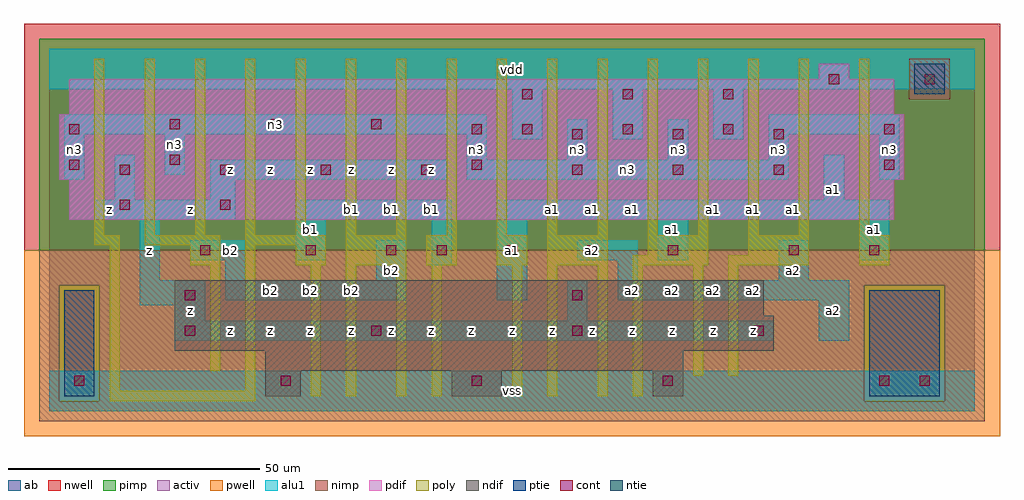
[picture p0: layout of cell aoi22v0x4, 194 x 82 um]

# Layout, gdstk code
import gdstk
lib = gdstk.Library(unit=1e-6, precision=1e-09)
def R(c, l, rs):  # rectangles x0, y0, x1, y1
    for r in rs: c.add(gdstk.rectangle(r[:2], r[2:], *l))
def A(c, l, x, y, w, h, nx, ny, dx, dy):  # array of equal rectangles
    R(c, l, [(x+i*dx, y+j*dy, x+i*dx+w, y+j*dy+h) for i in range(nx) for j in range(ny)])
ndif = (3, 0)
pdif = (4, 0)
ntie = (5, 0)
ptie = (6, 0)
cont = (25, 0)
pwell = (41, 0)
nwell = (42, 0)
activ = (43, 0)
pimp = (44, 0)
nimp = (45, 0)
poly = (46, 0)
alu1 = (49, 0)
ab = (63, 0)

aoi22v0x4 = lib.new_cell('aoi22v0x4')
R(aoi22v0x4, ndif, [(43,3,50,8), (80,3,90,8), (120,3,126,8), (43,8,126,12), (25,12,144,19), (25,19,142,26)])
R(aoi22v0x4, pdif, [(4,38,168,46), (2,46,170,59), (4,59,168,66), (153,66,159,69)])
R(aoi22v0x4, ntie, [(172,63,178,69)])
R(aoi22v0x4, ptie, [(3,3,9,24), (163,3,177,24)])
A(aoi22v0x4, cont, 46, 5, 2, 2, 3, 1, 38, 0)
A(aoi22v0x4, cont, 91, 31, 2, 2, 3, 1, 16, 0)
A(aoi22v0x4, cont, 14, 47, 2, 2, 4, 1, 20, 0)
A(aoi22v0x4, cont, 104, 47, 2, 2, 3, 2, 20, 7)
A(aoi22v0x4, cont, 94, 55, 2, 2, 3, 2, 20, 7)
A(aoi22v0x4, cont, 24, 56, 2, 2, 3, 1, 20, 0)
R(aoi22v0x4, cont, [(5,5,7,7), (165,5,167,7), (173,5,175,7), (27,15,29,17), (64,15,66,17), (104,15,106,17), (140,15,142,17), (27,22,29,24), (104,22,106,24), (30,31,32,33), (51,31,53,33), (67,31,69,33), (77,31,79,33), (147,31,149,33), (163,31,165,33), (14,40,16,42), (34,40,36,42), (4,48,6,50), (84,48,86,50), (166,48,168,50), (24,49,26,51), (4,55,6,57), (84,55,86,57), (166,55,168,57), (155,65,157,67), (174,65,176,67)])
R(aoi22v0x4, pwell, [(-5,-5,189,32)])
R(aoi22v0x4, nwell, [(-5,32,189,77)])
R(aoi22v0x4, activ, [(3,3,9,24), (43,3,50,8), (80,3,90,8), (120,3,126,8), (163,3,177,24), (43,8,126,12), (25,12,144,19), (25,19,142,26), (4,38,168,46), (2,46,170,59), (4,59,168,66), (172,63,178,69), (153,66,159,69)])
R(aoi22v0x4, pimp, [(2,2,10,25), (162,2,178,25), (-2,32,186,62), (-2,62,171,70), (179,62,186,70), (-2,70,186,74)])
R(aoi22v0x4, nimp, [(-2,-2,186,2), (-2,2,2,25), (10,2,162,25), (178,2,186,25), (-2,25,186,32), (171,62,179,70)])
A(aoi22v0x4, poly, 9, 35, 2, 35, 15, 1, 10, 0)
R(aoi22v0x4, poly, [(12,2,41,4), (52,3,54,29), (59,3,61,29), (69,3,71,29), (76,3,78,29), (92,3,94,29), (99,3,101,29), (109,3,111,29), (116,3,118,29), (12,4,14,33), (39,4,41,33), (128,7,130,29), (135,7,137,29), (32,8,34,29), (28,29,34,33), (49,29,55,33), (59,29,71,35), (75,29,81,35), (89,29,95,35), (99,29,111,35), (116,29,131,31), (135,29,151,31), (161,29,167,35), (119,31,131,35), (139,31,151,35), (9,33,14,35), (19,33,34,35), (39,33,55,35), (161,35,163,70)])
A(aoi22v0x4, alu1, 92, 54, 6, 10, 3, 1, 20, 0)
R(aoi22v0x4, alu1, [(0,0,184,8), (25,14,144,18), (153,14,159,22), (25,18,31,21), (103,18,107,26), (18,21,31,26), (35,22,71,26), (89,22,95,38), (113,22,159,26), (18,26,22,38), (35,26,39,30), (65,26,71,34), (113,26,117,30), (145,26,151,34), (76,29,80,38), (28,30,39,34), (49,30,55,38), (105,30,117,34), (121,30,127,38), (161,30,167,38), (9,38,37,42), (49,38,80,42), (89,38,167,42), (13,42,17,51), (32,42,37,46), (154,42,158,51), (3,46,7,55), (32,46,79,50), (83,46,147,50), (165,46,169,55), (23,47,27,55), (83,50,87,55), (103,50,107,58), (123,50,127,58), (143,50,147,55), (3,55,87,59), (143,55,169,59), (0,64,184,72)])
R(aoi22v0x4, ab, [(0,0,184,72)])
aoi22v0x4.add(gdstk.Label('n3', (25,53), layer=49, texttype=0))
aoi22v0x4.add(gdstk.Label('n3', (5,52), layer=49, texttype=0))
aoi22v0x4.add(gdstk.Label('n3', (85,52), layer=49, texttype=0))
aoi22v0x4.add(gdstk.Label('n3', (45,57), layer=49, texttype=0))
aoi22v0x4.add(gdstk.Label('n3', (105,52), layer=49, texttype=0))
aoi22v0x4.add(gdstk.Label('n3', (125,52), layer=49, texttype=0))
aoi22v0x4.add(gdstk.Label('n3', (115,48), layer=49, texttype=0))
aoi22v0x4.add(gdstk.Label('n3', (145,52), layer=49, texttype=0))
aoi22v0x4.add(gdstk.Label('n3', (167,52), layer=49, texttype=0))
aoi22v0x4.add(gdstk.Label('z', (28,20), layer=49, texttype=0))
aoi22v0x4.add(gdstk.Label('z', (20,32), layer=49, texttype=0))
aoi22v0x4.add(gdstk.Label('z', (28,40), layer=49, texttype=0))
aoi22v0x4.add(gdstk.Label('z', (12,40), layer=49, texttype=0))
aoi22v0x4.add(gdstk.Label('z', (52,16), layer=49, texttype=0))
aoi22v0x4.add(gdstk.Label('z', (44,16), layer=49, texttype=0))
aoi22v0x4.add(gdstk.Label('z', (60,16), layer=49, texttype=0))
aoi22v0x4.add(gdstk.Label('z', (68,16), layer=49, texttype=0))
aoi22v0x4.add(gdstk.Label('z', (36,16), layer=49, texttype=0))
aoi22v0x4.add(gdstk.Label('b2', (60,24), layer=49, texttype=0))
aoi22v0x4.add(gdstk.Label('b2', (52,24), layer=49, texttype=0))
aoi22v0x4.add(gdstk.Label('b2', (44,24), layer=49, texttype=0))
aoi22v0x4.add(gdstk.Label('b2', (68,28), layer=49, texttype=0))
aoi22v0x4.add(gdstk.Label('b2', (36,32), layer=49, texttype=0))
aoi22v0x4.add(gdstk.Label('b1', (60,40), layer=49, texttype=0))
aoi22v0x4.add(gdstk.Label('b1', (68,40), layer=49, texttype=0))
aoi22v0x4.add(gdstk.Label('b1', (52,36), layer=49, texttype=0))
aoi22v0x4.add(gdstk.Label('z', (36,48), layer=49, texttype=0))
aoi22v0x4.add(gdstk.Label('z', (60,48), layer=49, texttype=0))
aoi22v0x4.add(gdstk.Label('z', (68,48), layer=49, texttype=0))
aoi22v0x4.add(gdstk.Label('z', (52,48), layer=49, texttype=0))
aoi22v0x4.add(gdstk.Label('z', (44,48), layer=49, texttype=0))
aoi22v0x4.add(gdstk.Label('vss', (92,4), layer=49, texttype=0))
aoi22v0x4.add(gdstk.Label('z', (84,16), layer=49, texttype=0))
aoi22v0x4.add(gdstk.Label('z', (92,16), layer=49, texttype=0))
aoi22v0x4.add(gdstk.Label('z', (108,16), layer=49, texttype=0))
aoi22v0x4.add(gdstk.Label('z', (100,16), layer=49, texttype=0))
aoi22v0x4.add(gdstk.Label('z', (76,16), layer=49, texttype=0))
aoi22v0x4.add(gdstk.Label('a2', (108,32), layer=49, texttype=0))
aoi22v0x4.add(gdstk.Label('a1', (92,32), layer=49, texttype=0))
aoi22v0x4.add(gdstk.Label('b1', (76,40), layer=49, texttype=0))
aoi22v0x4.add(gdstk.Label('a1', (108,40), layer=49, texttype=0))
aoi22v0x4.add(gdstk.Label('a1', (100,40), layer=49, texttype=0))
aoi22v0x4.add(gdstk.Label('z', (76,48), layer=49, texttype=0))
aoi22v0x4.add(gdstk.Label('vdd', (92,68), layer=49, texttype=0))
aoi22v0x4.add(gdstk.Label('z', (116,16), layer=49, texttype=0))
aoi22v0x4.add(gdstk.Label('z', (124,16), layer=49, texttype=0))
aoi22v0x4.add(gdstk.Label('z', (140,16), layer=49, texttype=0))
aoi22v0x4.add(gdstk.Label('z', (132,16), layer=49, texttype=0))
aoi22v0x4.add(gdstk.Label('a2', (124,24), layer=49, texttype=0))
aoi22v0x4.add(gdstk.Label('a2', (140,24), layer=49, texttype=0))
aoi22v0x4.add(gdstk.Label('a2', (132,24), layer=49, texttype=0))
aoi22v0x4.add(gdstk.Label('a2', (116,24), layer=49, texttype=0))
aoi22v0x4.add(gdstk.Label('a1', (124,36), layer=49, texttype=0))
aoi22v0x4.add(gdstk.Label('a1', (140,40), layer=49, texttype=0))
aoi22v0x4.add(gdstk.Label('a1', (132,40), layer=49, texttype=0))
aoi22v0x4.add(gdstk.Label('a1', (116,40), layer=49, texttype=0))
aoi22v0x4.add(gdstk.Label('a2', (156,20), layer=49, texttype=0))
aoi22v0x4.add(gdstk.Label('a2', (148,28), layer=49, texttype=0))
aoi22v0x4.add(gdstk.Label('a1', (148,40), layer=49, texttype=0))
aoi22v0x4.add(gdstk.Label('a1', (164,36), layer=49, texttype=0))
aoi22v0x4.add(gdstk.Label('a1', (156,44), layer=49, texttype=0))

lib.write_gds('aoi22v0x4.gds')
